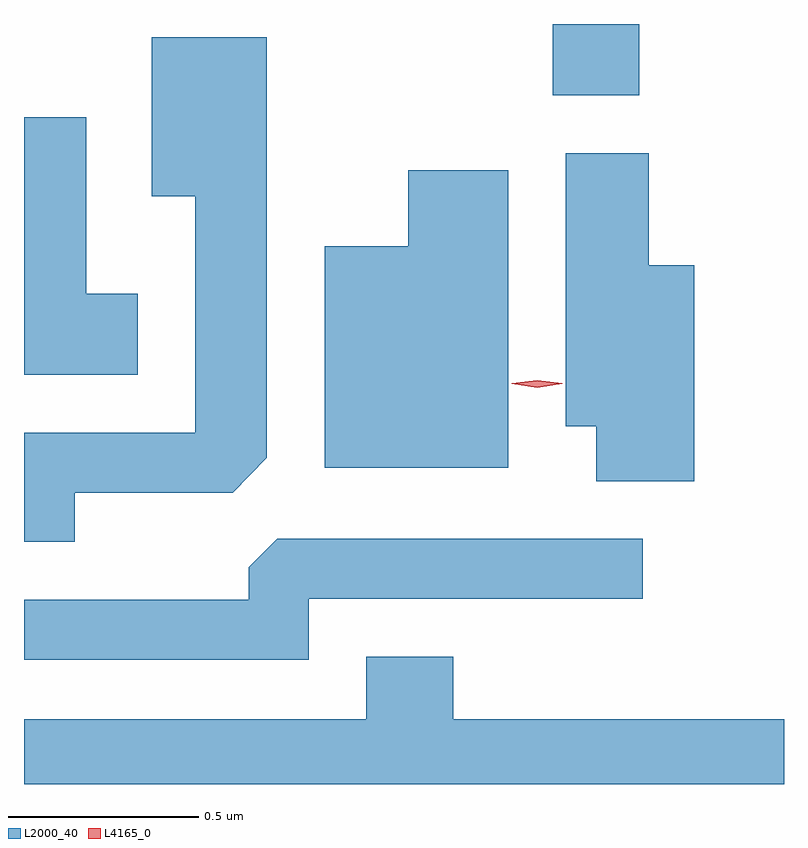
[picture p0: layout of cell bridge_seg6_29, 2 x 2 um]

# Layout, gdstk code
import gdstk
lib = gdstk.Library(unit=1e-6, precision=1e-09)
def R(c, l, rs):  # rectangles x0, y0, x1, y1
    for r in rs: c.add(gdstk.rectangle(r[:2], r[2:], *l))
def P(c, l, *ps):  # polygons
    for p in ps: c.add(gdstk.Polygon(p, *l))
L2000_40 = (2000, 40)
L4165_0 = (4165, 0)

bridge_seg6_29 = lib.new_cell('bridge_seg6_29')
R(bridge_seg6_29, L2000_40, [(1823.261,1647.406,1823.489,1647.594)])
P(bridge_seg6_29, L2000_40, [(1822.004,1646.361),(1822.419,1646.361),(1822.509,1646.452),(1822.509,1647.559),(1822.206,1647.559),(1822.206,1647.141),(1822.321,1647.141),(1822.321,1646.519),(1821.87,1646.519),(1821.87,1646.231),(1822.004,1646.231)],
  [(1822.169,1646.884),(1822.034,1646.884),(1822.034,1647.349),(1821.87,1647.349),(1821.87,1646.671),(1822.169,1646.671)],
  [(1823.634,1646.959),(1823.514,1646.959),(1823.514,1647.254),(1823.296,1647.254),(1823.296,1646.536),(1823.376,1646.536),(1823.376,1646.391),(1823.634,1646.391)],
  [(1823.144,1647.209),(1822.881,1647.209),(1822.881,1647.009),(1822.661,1647.009),(1822.661,1646.426),(1823.144,1646.426)],
  [(1822.619,1646.081),(1823.498,1646.081),(1823.498,1646.239),(1822.537,1646.239),(1822.461,1646.164),(1822.461,1646.079),(1821.87,1646.079),(1821.87,1645.921),(1822.619,1645.921)],
  [(1823.87,1645.764),(1822.999,1645.764),(1822.999,1645.929),(1822.771,1645.929),(1822.771,1645.764),(1821.87,1645.764),(1821.87,1645.594),(1823.87,1645.594)])
P(bridge_seg6_29, L4165_0, [(1823.22,1646.637),(1823.154,1646.647),(1823.154,1646.647),(1823.154,1646.648),(1823.22,1646.657),(1823.286,1646.648),(1823.287,1646.647),(1823.286,1646.647)])

lib.write_gds('bridge_seg6_29.gds')
